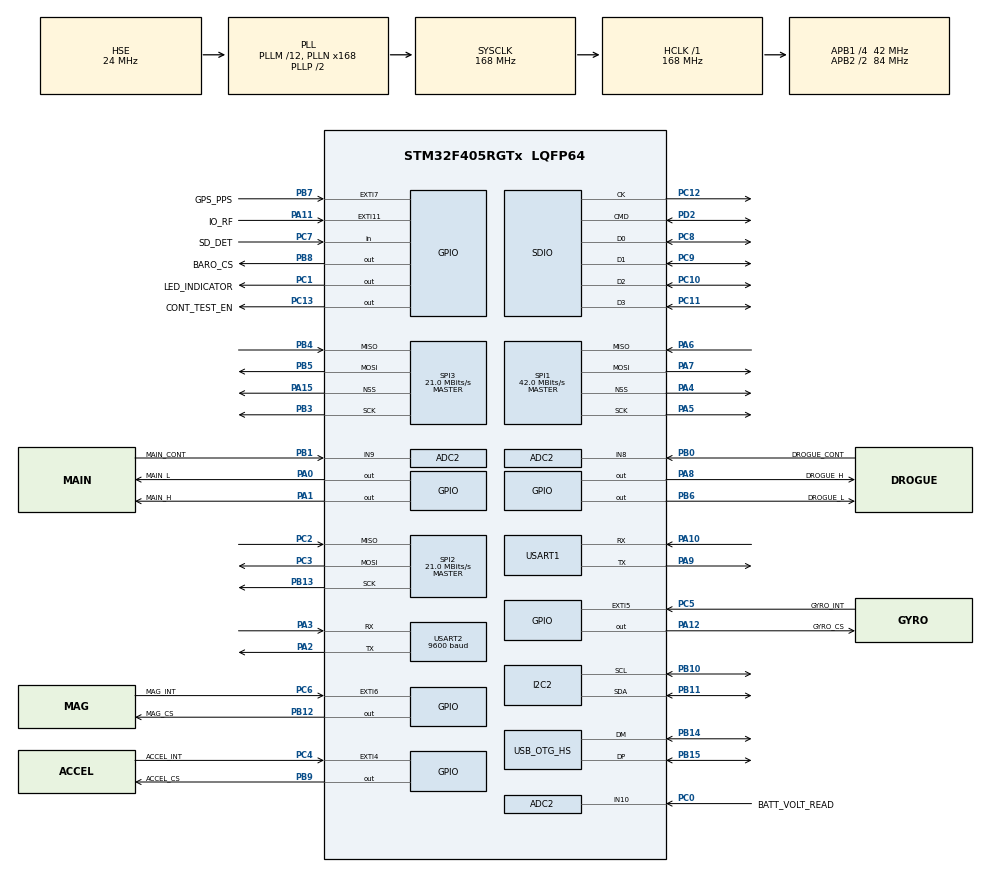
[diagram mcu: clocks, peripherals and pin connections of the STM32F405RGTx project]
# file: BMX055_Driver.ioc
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ADC2.Channel-0\#ChannelRegularConversion=ADC_CHANNEL_8
ADC2.NbrOfConversionFlag=1
ADC2.Rank-0\#ChannelRegularConversion=1
ADC2.SamplingTime-0\#ChannelRegularConversion=ADC_SAMPLETIME_3CYCLES
FATFS.BSP.number=1
FATFS0.BSP.STBoard=false
FATFS0.BSP.api=Unknown
FATFS0.BSP.instance=PC7
FATFS0.BSP.ip=GPIO
FATFS0.BSP.mode=Input
FATFS0.BSP.name=Detect_SDIO
FATFS0.BSP.solution=PC7
FREERTOS.Tasks01=defaultTask,24,128,StartDefaultTask,Default,NULL,Dynamic,NULL,NULL
I2C2.I2C_Mode=I2C_Fast
Mcu.Family=STM32F4
Mcu.Name=STM32F405RGTx
Mcu.Package=LQFP64
NVIC.OTG_HS_IRQn=true\:5\:0\:false\:false\:true\:true\:false\:true\:true
NVIC.PriorityGroup=NVIC_PRIORITYGROUP_4
PA0-WKUP.GPIO_Label=MAIN_L
PA0-WKUP.Signal=GPIO_Output
PA1.GPIO_Label=MAIN_H
PA1.Signal=GPIO_Output
PA10.Mode=Asynchronous
PA10.Signal=USART1_RX
PA11.GPIO_Label=IO_RF
PA11.Signal=GPXTI11
PA12.GPIO_Label=GYRO_CS
PA12.Signal=GPIO_Output
PA13.Mode=Serial_Wire
PA13.Signal=SYS_JTMS-SWDIO
PA14.Mode=Serial_Wire
PA14.Signal=SYS_JTCK-SWCLK
PA15.Mode=NSS_Signal_Hard_Output
PA15.Signal=SPI3_NSS
PA2.Mode=Asynchronous
PA2.Signal=USART2_TX
PA3.Mode=Asynchronous
PA3.Signal=USART2_RX
PA4.Mode=NSS_Signal_Hard_Output
PA4.Signal=SPI1_NSS
PA5.Mode=Full_Duplex_Master
PA5.Signal=SPI1_SCK
PA6.Mode=Full_Duplex_Master
PA6.Signal=SPI1_MISO
PA7.Mode=Full_Duplex_Master
PA7.Signal=SPI1_MOSI
PA8.GPIO_Label=DROGUE_H
PA8.Signal=GPIO_Output
PA9.Mode=Asynchronous
PA9.Signal=USART1_TX
PB0.GPIO_Label=DROGUE_CONT
PB0.Signal=ADCx_IN8
PB1.GPIO_Label=MAIN_CONT
PB1.Signal=ADCx_IN9
PB10.Mode=I2C
PB10.Signal=I2C2_SCL
PB11.Mode=I2C
PB11.Signal=I2C2_SDA
PB12.GPIO_Label=MAG_CS
PB12.Signal=GPIO_Output
PB13.Mode=Full_Duplex_Master
PB13.Signal=SPI2_SCK
PB14.Mode=Device_Only_FS
PB14.Signal=USB_OTG_HS_DM
PB15.Mode=Device_Only_FS
PB15.Signal=USB_OTG_HS_DP
PB3.Mode=Full_Duplex_Master
PB3.Signal=SPI3_SCK
PB4.Mode=Full_Duplex_Master
PB4.Signal=SPI3_MISO
PB5.Mode=Full_Duplex_Master
PB5.Signal=SPI3_MOSI
PB6.GPIO_Label=DROGUE_L
PB6.Signal=GPIO_Output
PB7.GPIO_Label=GPS_PPS
PB7.Signal=GPXTI7
PB8.GPIO_Label=BARO_CS
PB8.Signal=GPIO_Output
PB9.GPIO_Label=ACCEL_CS
PB9.Signal=GPIO_Output
PC0.GPIO_Label=BATT_VOLT_READ
PC0.Signal=ADCx_IN10
PC1.GPIO_Label=LED_INDICATOR
PC1.Signal=GPIO_Output
PC10.Mode=SD_4_bits_Wide_bus
PC10.Signal=SDIO_D2
PC11.Mode=SD_4_bits_Wide_bus
PC11.Signal=SDIO_D3
PC12.Mode=SD_4_bits_Wide_bus
PC12.Signal=SDIO_CK
PC13-ANTI_TAMP.GPIO_Label=CONT_TEST_EN
PC13-ANTI_TAMP.Signal=GPIO_Output
PC14-OSC32_IN.Mode=LSE-External-Oscillator
PC14-OSC32_IN.Signal=RCC_OSC32_IN
PC15-OSC32_OUT.Mode=LSE-External-Oscillator
PC15-OSC32_OUT.Signal=RCC_OSC32_OUT
PC2.Mode=Full_Duplex_Master
PC2.Signal=SPI2_MISO
PC3.Mode=Full_Duplex_Master
PC3.Signal=SPI2_MOSI
PC4.GPIO_Label=ACCEL_INT
PC4.Signal=GPXTI4
PC5.GPIO_Label=GYRO_INT
PC5.Signal=GPXTI5
PC6.GPIO_Label=MAG_INT
PC6.Signal=GPXTI6
PC7.GPIO_Label=SD_DET
PC7.Signal=GPIO_Input
PC8.Mode=SD_4_bits_Wide_bus
PC8.Signal=SDIO_D0
PC9.Mode=SD_4_bits_Wide_bus
PC9.Signal=SDIO_D1
PD2.Mode=SD_4_bits_Wide_bus
PD2.Signal=SDIO_CMD
PH0-OSC_IN.Mode=HSE-External-Oscillator
PH0-OSC_IN.Signal=RCC_OSC_IN
PH1-OSC_OUT.Mode=HSE-External-Oscillator
PH1-OSC_OUT.Signal=RCC_OSC_OUT
ProjectManager.HeapSize=0x200
ProjectManager.StackSize=0x400
ProjectManager.TargetToolchain=STM32CubeIDE
RCC.48MHZClocksFreq_Value=48000000
RCC.AHBFreq_Value=168000000
RCC.APB1CLKDivider=RCC_HCLK_DIV4
RCC.APB1Freq_Value=42000000
RCC.APB1TimFreq_Value=84000000
RCC.APB2CLKDivider=RCC_HCLK_DIV2
RCC.APB2Freq_Value=84000000
RCC.APB2TimFreq_Value=168000000
RCC.CortexFreq_Value=168000000
RCC.HCLKFreq_Value=168000000
RCC.HSE_VALUE=24000000
RCC.HSI_VALUE=16000000
RCC.PLLM=12
RCC.PLLN=168
RCC.PLLQ=7
RCC.SYSCLKFreq_VALUE=168000000
RCC.SYSCLKSource=RCC_SYSCLKSOURCE_PLLCLK
RCC.VCOOutputFreq_Value=336000000
SH.ADCx_IN10.0=ADC2_IN10,IN10
SH.ADCx_IN8.0=ADC2_IN8,IN8
SH.ADCx_IN9.0=ADC2_IN9,IN9
SPI1.BaudRatePrescaler=SPI_BAUDRATEPRESCALER_2
SPI1.CalculateBaudRate=42.0 MBits/s
SPI1.Direction=SPI_DIRECTION_2LINES
SPI1.Mode=SPI_MODE_MASTER
SPI1.VirtualNSS=VM_NSSHARD
SPI1.VirtualType=VM_MASTER
SPI2.BaudRatePrescaler=SPI_BAUDRATEPRESCALER_2
SPI2.CalculateBaudRate=21.0 MBits/s
SPI2.Direction=SPI_DIRECTION_2LINES
SPI2.Mode=SPI_MODE_MASTER
SPI2.VirtualType=VM_MASTER
SPI3.BaudRatePrescaler=SPI_BAUDRATEPRESCALER_2
SPI3.CRCCalculation=SPI_CRCCALCULATION_DISABLE
SPI3.CalculateBaudRate=21.0 MBits/s
SPI3.Direction=SPI_DIRECTION_2LINES
SPI3.Mode=SPI_MODE_MASTER
SPI3.VirtualNSS=VM_NSSHARD
SPI3.VirtualType=VM_MASTER
USART1.VirtualMode=VM_ASYNC
USART2.BaudRate=9600
USART2.VirtualMode=VM_ASYNC
USB_DEVICE.CLASS_NAME_HS=CDC
USB_DEVICE.VirtualMode-CDC_HS=Cdc
USB_DEVICE.VirtualModeHS=Cdc_HS
USB_OTG_HS.VirtualMode-Device_Only_FS=Device_Only_FS
VP_CRC_VS_CRC.Mode=CRC_Activate
VP_FATFS_VS_SDIO.Mode=SDIO
VP_FREERTOS_VS_CMSIS_V2.Mode=CMSIS_V2
VP_TIM3_VS_ClockSourceINT.Mode=Internal
VP_USB_DEVICE_VS_USB_DEVICE_CDC_HS.Mode=CDC_HS
board=custom

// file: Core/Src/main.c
/* USER CODE BEGIN Header */
/**
  ******************************************************************************
  * @file           : main.c
  * @brief          : Main program body
  ******************************************************************************
  * @attention
  *
  * Copyright (c) 2022 STMicroelectronics.
  * All rights reserved.
  *
  * This software is licensed under terms that can be found in the LICENSE file
  * in the root directory of this software component.
  * If no LICENSE file comes with this software, it is provided AS-IS.
  *
  ******************************************************************************
  */
/* USER CODE END Header */
#include "main.h"
#include "cmsis_os.h"
#include "fatfs.h"
#include "usb_device.h"

/* USER CODE BEGIN Includes */
#include "BMX055.h"
/* USER CODE END Includes */

ADC_HandleTypeDef hadc2;

CRC_HandleTypeDef hcrc;

I2C_HandleTypeDef hi2c2;

SD_HandleTypeDef hsd;

SPI_HandleTypeDef hspi1;
SPI_HandleTypeDef hspi2;
SPI_HandleTypeDef hspi3;

TIM_HandleTypeDef htim3;

UART_HandleTypeDef huart1;
UART_HandleTypeDef huart2;

/* Definitions for defaultTask */
osThreadId_t defaultTaskHandle;
const osThreadAttr_t defaultTask_attributes = {
  .name = "defaultTask",
  .stack_size = 128 * 4,
  .priority = (osPriority_t) osPriorityNormal,
};

void SystemClock_Config(void);
static void MX_GPIO_Init(void);
static void MX_SDIO_SD_Init(void);
static void MX_SPI1_Init(void);
static void MX_SPI2_Init(void);
static void MX_USART1_UART_Init(void);
static void MX_TIM3_Init(void);
static void MX_I2C2_Init(void);
static void MX_ADC2_Init(void);
static void MX_SPI3_Init(void);
static void MX_USART2_UART_Init(void);
static void MX_CRC_Init(void);
void StartDefaultTask(void *argument);

int main(void)
{
  /* USER CODE BEGIN 1 */

	BMX055_Handle bmx055;
	bmx055.hspi = &hspi2;
	// Accelerometer parameters
	bmx055.acc_CS_port = GPIOC;
	bmx055.acc_CS_pin = ACCEL_CS_Pin;
	bmx055.acc_range = BMX055_ACC_RANGE_4;
	bmx055.acc_bandwidth = BMX055_ACC_PMU_BW_7_81;

	// Gyroscope parameters
	bmx055.gyro_CS_port = GPIOC;
	bmx055.gyro_CS_pin = GYRO_CS_Pin;
	bmx055.acc_range = BMX055_GYRO_RANGE_32_8;
	bmx055.acc_bandwidth = BMX055_GYRO_BW_64;

	// Magnetometer parameters
	bmx055.mag_CS_port = GPIOC;
	bmx055.mag_CS_pin = MAG_CS_Pin;
	bmx055.mag_data_rate = BMX055_MAG_DATA_RATE_30;

	// Init BMX055
	if(!BMX055_init(&bmx055)) {
		printf("[main] BMX055 failed to start\r\n");
	}
  /* USER CODE END 1 */

  /* MCU Configuration--------------------------------------------------------*/

  /* Reset of all peripherals, Initializes the Flash interface and the Systick. */
  HAL_Init();

  /* Configure the system clock */
  SystemClock_Config();

  /* Initialize all configured peripherals */
  MX_GPIO_Init();
  MX_SDIO_SD_Init();
  MX_SPI1_Init();
  MX_SPI2_Init();
  MX_USART1_UART_Init();
  MX_TIM3_Init();
  MX_FATFS_Init();
  MX_I2C2_Init();
  MX_ADC2_Init();
  MX_SPI3_Init();
  MX_USART2_UART_Init();
  MX_CRC_Init();

  /* Init scheduler */
  osKernelInitialize();

  /* Create the thread(s) */
  /* creation of defaultTask */
  defaultTaskHandle = osThreadNew(StartDefaultTask, NULL, &defaultTask_attributes);

  /* Start scheduler */
  osKernelStart();

  /* We should never get here as control is now taken by the scheduler */
  /* Infinite loop */
  while (1)
  {

  }
}

void SystemClock_Config(void)
{
  RCC_OscInitTypeDef RCC_OscInitStruct = {0};
  RCC_ClkInitTypeDef RCC_ClkInitStruct = {0};

  /** Configure the main internal regulator output voltage
  */
  __HAL_RCC_PWR_CLK_ENABLE();
  __HAL_PWR_VOLTAGESCALING_CONFIG(PWR_REGULATOR_VOLTAGE_SCALE1);

  /** Initializes the RCC Oscillators according to the specified parameters
  * in the RCC_OscInitTypeDef structure.
  */
  RCC_OscInitStruct.OscillatorType = RCC_OSCILLATORTYPE_HSE;
  RCC_OscInitStruct.HSEState = RCC_HSE_ON;
  RCC_OscInitStruct.PLL.PLLState = RCC_PLL_ON;
  RCC_OscInitStruct.PLL.PLLSource = RCC_PLLSOURCE_HSE;
  RCC_OscInitStruct.PLL.PLLM = 12;
  RCC_OscInitStruct.PLL.PLLN = 168;
  RCC_OscInitStruct.PLL.PLLP = RCC_PLLP_DIV2;
  RCC_OscInitStruct.PLL.PLLQ = 7;
  if (HAL_RCC_OscConfig(&RCC_OscInitStruct) != HAL_OK)
  {
    Error_Handler();
  }

  /** Initializes the CPU, AHB and APB buses clocks
  */
  RCC_ClkInitStruct.ClockType = RCC_CLOCKTYPE_HCLK|RCC_CLOCKTYPE_SYSCLK
                              |RCC_CLOCKTYPE_PCLK1|RCC_CLOCKTYPE_PCLK2;
  RCC_ClkInitStruct.SYSCLKSource = RCC_SYSCLKSOURCE_PLLCLK;
  RCC_ClkInitStruct.AHBCLKDivider = RCC_SYSCLK_DIV1;
  RCC_ClkInitStruct.APB1CLKDivider = RCC_HCLK_DIV4;
  RCC_ClkInitStruct.APB2CLKDivider = RCC_HCLK_DIV2;

  if (HAL_RCC_ClockConfig(&RCC_ClkInitStruct, FLASH_LATENCY_5) != HAL_OK)
  {
    Error_Handler();
  }
}

static void MX_ADC2_Init(void)
{

  ADC_ChannelConfTypeDef sConfig = {0};

  /** Configure the global features of the ADC (Clock, Resolution, Data Alignment and number of conversion)
  */
  hadc2.Instance = ADC2;
  hadc2.Init.ClockPrescaler = ADC_CLOCK_SYNC_PCLK_DIV4;
  hadc2.Init.Resolution = ADC_RESOLUTION_12B;
  hadc2.Init.ScanConvMode = DISABLE;
  hadc2.Init.ContinuousConvMode = DISABLE;
  hadc2.Init.DiscontinuousConvMode = DISABLE;
  hadc2.Init.ExternalTrigConvEdge = ADC_EXTERNALTRIGCONVEDGE_NONE;
  hadc2.Init.ExternalTrigConv = ADC_SOFTWARE_START;
  hadc2.Init.DataAlign = ADC_DATAALIGN_RIGHT;
  hadc2.Init.NbrOfConversion = 1;
  hadc2.Init.DMAContinuousRequests = DISABLE;
  hadc2.Init.EOCSelection = ADC_EOC_SINGLE_CONV;
  if (HAL_ADC_Init(&hadc2) != HAL_OK)
  {
    Error_Handler();
  }

  /** Configure for the selected ADC regular channel its corresponding rank in the sequencer and its sample time.
  */
  sConfig.Channel = ADC_CHANNEL_8;
  sConfig.Rank = 1;
  sConfig.SamplingTime = ADC_SAMPLETIME_3CYCLES;
  if (HAL_ADC_ConfigChannel(&hadc2, &sConfig) != HAL_OK)
  {
    Error_Handler();
  }

}

static void MX_CRC_Init(void)
{

  hcrc.Instance = CRC;
  if (HAL_CRC_Init(&hcrc) != HAL_OK)
  {
    Error_Handler();
  }

}

static void MX_I2C2_Init(void)
{

  hi2c2.Instance = I2C2;
  hi2c2.Init.ClockSpeed = 400000;
  hi2c2.Init.DutyCycle = I2C_DUTYCYCLE_2;
  hi2c2.Init.OwnAddress1 = 0;
  hi2c2.Init.AddressingMode = I2C_ADDRESSINGMODE_7BIT;
  hi2c2.Init.DualAddressMode = I2C_DUALADDRESS_DISABLE;
  hi2c2.Init.OwnAddress2 = 0;
  hi2c2.Init.GeneralCallMode = I2C_GENERALCALL_DISABLE;
  hi2c2.Init.NoStretchMode = I2C_NOSTRETCH_DISABLE;
  if (HAL_I2C_Init(&hi2c2) != HAL_OK)
  {
    Error_Handler();
  }

}

static void MX_SDIO_SD_Init(void)
{

  hsd.Instance = SDIO;
  hsd.Init.ClockEdge = SDIO_CLOCK_EDGE_RISING;
  hsd.Init.ClockBypass = SDIO_CLOCK_BYPASS_DISABLE;
  hsd.Init.ClockPowerSave = SDIO_CLOCK_POWER_SAVE_DISABLE;
  hsd.Init.BusWide = SDIO_BUS_WIDE_1B;
  hsd.Init.HardwareFlowControl = SDIO_HARDWARE_FLOW_CONTROL_DISABLE;
  hsd.Init.ClockDiv = 0;

}

static void MX_SPI1_Init(void)
{

  /* SPI1 parameter configuration*/
  hspi1.Instance = SPI1;
  hspi1.Init.Mode = SPI_MODE_MASTER;
  hspi1.Init.Direction = SPI_DIRECTION_2LINES;
  hspi1.Init.DataSize = SPI_DATASIZE_8BIT;
  hspi1.Init.CLKPolarity = SPI_POLARITY_LOW;
  hspi1.Init.CLKPhase = SPI_PHASE_1EDGE;
  hspi1.Init.NSS = SPI_NSS_HARD_OUTPUT;
  hspi1.Init.BaudRatePrescaler = SPI_BAUDRATEPRESCALER_2;
  hspi1.Init.FirstBit = SPI_FIRSTBIT_MSB;
  hspi1.Init.TIMode = SPI_TIMODE_DISABLE;
  hspi1.Init.CRCCalculation = SPI_CRCCALCULATION_DISABLE;
  hspi1.Init.CRCPolynomial = 10;
  if (HAL_SPI_Init(&hspi1) != HAL_OK)
  {
    Error_Handler();
  }

}

static void MX_SPI2_Init(void)
{

  /* SPI2 parameter configuration*/
  hspi2.Instance = SPI2;
  hspi2.Init.Mode = SPI_MODE_MASTER;
  hspi2.Init.Direction = SPI_DIRECTION_2LINES;
  hspi2.Init.DataSize = SPI_DATASIZE_8BIT;
  hspi2.Init.CLKPolarity = SPI_POLARITY_LOW;
  hspi2.Init.CLKPhase = SPI_PHASE_1EDGE;
  hspi2.Init.NSS = SPI_NSS_SOFT;
  hspi2.Init.BaudRatePrescaler = SPI_BAUDRATEPRESCALER_2;
  hspi2.Init.FirstBit = SPI_FIRSTBIT_MSB;
  hspi2.Init.TIMode = SPI_TIMODE_DISABLE;
  hspi2.Init.CRCCalculation = SPI_CRCCALCULATION_DISABLE;
  hspi2.Init.CRCPolynomial = 10;
  if (HAL_SPI_Init(&hspi2) != HAL_OK)
  {
    Error_Handler();
  }

}

static void MX_SPI3_Init(void)
{

  /* SPI3 parameter configuration*/
  hspi3.Instance = SPI3;
  hspi3.Init.Mode = SPI_MODE_MASTER;
  hspi3.Init.Direction = SPI_DIRECTION_2LINES;
  hspi3.Init.DataSize = SPI_DATASIZE_8BIT;
  hspi3.Init.CLKPolarity = SPI_POLARITY_LOW;
  hspi3.Init.CLKPhase = SPI_PHASE_1EDGE;
  hspi3.Init.NSS = SPI_NSS_HARD_OUTPUT;
  hspi3.Init.BaudRatePrescaler = SPI_BAUDRATEPRESCALER_2;
  hspi3.Init.FirstBit = SPI_FIRSTBIT_MSB;
  hspi3.Init.TIMode = SPI_TIMODE_DISABLE;
  hspi3.Init.CRCCalculation = SPI_CRCCALCULATION_DISABLE;
  hspi3.Init.CRCPolynomial = 10;
  if (HAL_SPI_Init(&hspi3) != HAL_OK)
  {
    Error_Handler();
  }

}

static void MX_TIM3_Init(void)
{

  TIM_ClockConfigTypeDef sClockSourceConfig = {0};
  TIM_MasterConfigTypeDef sMasterConfig = {0};

  htim3.Instance = TIM3;
  htim3.Init.Prescaler = 0;
  htim3.Init.CounterMode = TIM_COUNTERMODE_UP;
  htim3.Init.Period = 65535;
  htim3.Init.ClockDivision = TIM_CLOCKDIVISION_DIV1;
  htim3.Init.AutoReloadPreload = TIM_AUTORELOAD_PRELOAD_DISABLE;
  if (HAL_TIM_Base_Init(&htim3) != HAL_OK)
  {
    Error_Handler();
  }
  sClockSourceConfig.ClockSource = TIM_CLOCKSOURCE_INTERNAL;
  if (HAL_TIM_ConfigClockSource(&htim3, &sClockSourceConfig) != HAL_OK)
  {
    Error_Handler();
  }
  sMasterConfig.MasterOutputTrigger = TIM_TRGO_RESET;
  sMasterConfig.MasterSlaveMode = TIM_MASTERSLAVEMODE_DISABLE;
  if (HAL_TIMEx_MasterConfigSynchronization(&htim3, &sMasterConfig) != HAL_OK)
  {
    Error_Handler();
  }

}

static void MX_USART1_UART_Init(void)
{

  huart1.Instance = USART1;
  huart1.Init.BaudRate = 115200;
  huart1.Init.WordLength = UART_WORDLENGTH_8B;
  huart1.Init.StopBits = UART_STOPBITS_1;
  huart1.Init.Parity = UART_PARITY_NONE;
  huart1.Init.Mode = UART_MODE_TX_RX;
  huart1.Init.HwFlowCtl = UART_HWCONTROL_NONE;
  huart1.Init.OverSampling = UART_OVERSAMPLING_16;
  if (HAL_UART_Init(&huart1) != HAL_OK)
  {
    Error_Handler();
  }

}

static void MX_USART2_UART_Init(void)
{

  huart2.Instance = USART2;
  huart2.Init.BaudRate = 9600;
  huart2.Init.WordLength = UART_WORDLENGTH_8B;
  huart2.Init.StopBits = UART_STOPBITS_1;
  huart2.Init.Parity = UART_PARITY_NONE;
  huart2.Init.Mode = UART_MODE_TX_RX;
  huart2.Init.HwFlowCtl = UART_HWCONTROL_NONE;
  huart2.Init.OverSampling = UART_OVERSAMPLING_16;
  if (HAL_UART_Init(&huart2) != HAL_OK)
  {
    Error_Handler();
  }

}

static void MX_GPIO_Init(void)
{
  GPIO_InitTypeDef GPIO_InitStruct = {0};

  /* GPIO Ports Clock Enable */
  __HAL_RCC_GPIOC_CLK_ENABLE();
  __HAL_RCC_GPIOH_CLK_ENABLE();
  __HAL_RCC_GPIOA_CLK_ENABLE();
  __HAL_RCC_GPIOB_CLK_ENABLE();
  __HAL_RCC_GPIOD_CLK_ENABLE();

  /*Configure GPIO pin Output Level */
  HAL_GPIO_WritePin(GPIOC, CONT_TEST_EN_Pin|LED_INDICATOR_Pin, GPIO_PIN_RESET);

  /*Configure GPIO pin Output Level */
  HAL_GPIO_WritePin(GPIOA, MAIN_L_Pin|MAIN_H_Pin|DROGUE_H_Pin|GYRO_CS_Pin, GPIO_PIN_RESET);

  /*Configure GPIO pin Output Level */
  HAL_GPIO_WritePin(GPIOB, MAG_CS_Pin|DROGUE_L_Pin|BARO_CS_Pin|ACCEL_CS_Pin, GPIO_PIN_RESET);

  /*Configure GPIO pins : CONT_TEST_EN_Pin LED_INDICATOR_Pin */
  GPIO_InitStruct.Pin = CONT_TEST_EN_Pin|LED_INDICATOR_Pin;
  GPIO_InitStruct.Mode = GPIO_MODE_OUTPUT_PP;
  GPIO_InitStruct.Pull = GPIO_NOPULL;
  GPIO_InitStruct.Speed = GPIO_SPEED_FREQ_LOW;
  HAL_GPIO_Init(GPIOC, &GPIO_InitStruct);

  /*Configure GPIO pins : MAIN_L_Pin MAIN_H_Pin DROGUE_H_Pin GYRO_CS_Pin */
  GPIO_InitStruct.Pin = MAIN_L_Pin|MAIN_H_Pin|DROGUE_H_Pin|GYRO_CS_Pin;
  GPIO_InitStruct.Mode = GPIO_MODE_OUTPUT_PP;
  GPIO_InitStruct.Pull = GPIO_NOPULL;
  GPIO_InitStruct.Speed = GPIO_SPEED_FREQ_LOW;
  HAL_GPIO_Init(GPIOA, &GPIO_InitStruct);

  /*Configure GPIO pins : ACCEL_INT_Pin GYRO_INT_Pin MAG_INT_Pin */
  GPIO_InitStruct.Pin = ACCEL_INT_Pin|GYRO_INT_Pin|MAG_INT_Pin;
  GPIO_InitStruct.Mode = GPIO_MODE_IT_RISING;
  GPIO_InitStruct.Pull = GPIO_NOPULL;
  HAL_GPIO_Init(GPIOC, &GPIO_InitStruct);

  /*Configure GPIO pins : MAG_CS_Pin DROGUE_L_Pin BARO_CS_Pin ACCEL_CS_Pin */
  GPIO_InitStruct.Pin = MAG_CS_Pin|DROGUE_L_Pin|BARO_CS_Pin|ACCEL_CS_Pin;
  GPIO_InitStruct.Mode = GPIO_MODE_OUTPUT_PP;
  GPIO_InitStruct.Pull = GPIO_NOPULL;
  GPIO_InitStruct.Speed = GPIO_SPEED_FREQ_LOW;
  HAL_GPIO_Init(GPIOB, &GPIO_InitStruct);

  /*Configure GPIO pin : SD_DET_Pin */
  GPIO_InitStruct.Pin = SD_DET_Pin;
  GPIO_InitStruct.Mode = GPIO_MODE_INPUT;
  GPIO_InitStruct.Pull = GPIO_NOPULL;
  HAL_GPIO_Init(SD_DET_GPIO_Port, &GPIO_InitStruct);

  /*Configure GPIO pin : IO_RF_Pin */
  GPIO_InitStruct.Pin = IO_RF_Pin;
  GPIO_InitStruct.Mode = GPIO_MODE_IT_RISING;
  GPIO_InitStruct.Pull = GPIO_NOPULL;
  HAL_GPIO_Init(IO_RF_GPIO_Port, &GPIO_InitStruct);

  /*Configure GPIO pin : GPS_PPS_Pin */
  GPIO_InitStruct.Pin = GPS_PPS_Pin;
  GPIO_InitStruct.Mode = GPIO_MODE_IT_RISING;
  GPIO_InitStruct.Pull = GPIO_NOPULL;
  HAL_GPIO_Init(GPS_PPS_GPIO_Port, &GPIO_InitStruct);

}

void StartDefaultTask(void *argument)
{
  /* init code for USB_DEVICE */
  MX_USB_DEVICE_Init();
  for(;;)
  {
    osDelay(1);
  }
}

void Error_Handler(void)
{
  __disable_irq();
  while (1)
  {
  }
}
